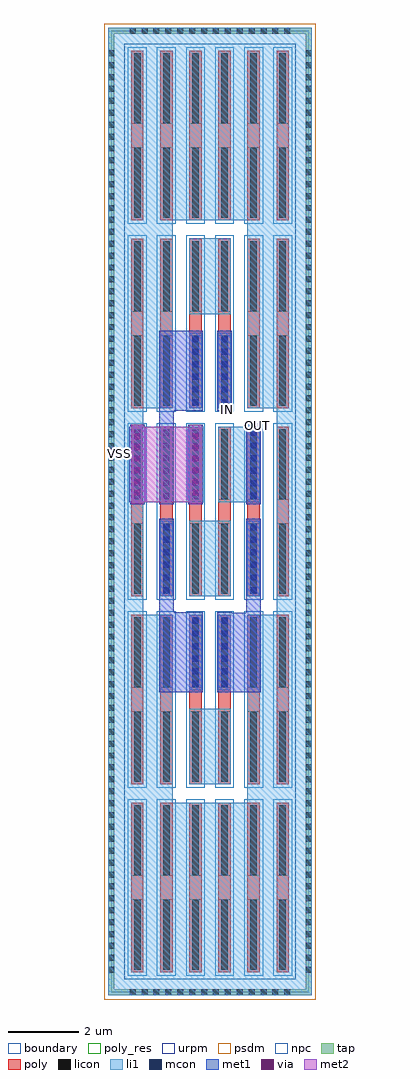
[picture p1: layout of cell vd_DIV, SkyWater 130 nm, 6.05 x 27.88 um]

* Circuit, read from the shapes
.subckt vd_DIV IN OUT VSS
XR1 VSS VSS VSS sky130_fd_pr__res_xhigh_po w=0.35 l=0.57 m=22
XR2 sky130_fd_pr__res_xhigh_po_0p35_MJ6B8Z_0/R1_1_2 sky130_fd_pr__res_xhigh_po_0p35_MJ6B8Z_0/R1_2_1 VSS sky130_fd_pr__res_xhigh_po w=0.35 l=0.57
XR3 sky130_fd_pr__res_xhigh_po_0p35_MJ6B8Z_0/R1_2_1 sky130_fd_pr__res_xhigh_po_0p35_MJ6B8Z_0/R2_2_1 VSS sky130_fd_pr__res_xhigh_po w=0.35 l=0.57
XR4 VSS sky130_fd_pr__res_xhigh_po_0p35_MJ6B8Z_0/R2_2_2 VSS sky130_fd_pr__res_xhigh_po w=0.35 l=0.57
XR5 sky130_fd_pr__res_xhigh_po_0p35_MJ6B8Z_0/R1_2_3 sky130_fd_pr__res_xhigh_po_0p35_MJ6B8Z_0/R1_1_2 VSS sky130_fd_pr__res_xhigh_po w=0.35 l=0.57
XR6 sky130_fd_pr__res_xhigh_po_0p35_MJ6B8Z_0/R1_3_1 sky130_fd_pr__res_xhigh_po_0p35_MJ6B8Z_0/R2_2_1 VSS sky130_fd_pr__res_xhigh_po w=0.35 l=0.57
XR7 OUT sky130_fd_pr__res_xhigh_po_0p35_MJ6B8Z_0/R2_2_2 VSS sky130_fd_pr__res_xhigh_po w=0.35 l=0.57
XR8 sky130_fd_pr__res_xhigh_po_0p35_MJ6B8Z_0/R1_2_3 IN VSS sky130_fd_pr__res_xhigh_po w=0.35 l=0.57
XR9 OUT sky130_fd_pr__res_xhigh_po_0p35_MJ6B8Z_0/R1_3_1 VSS sky130_fd_pr__res_xhigh_po w=0.35 l=0.57
.ends

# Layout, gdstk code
import gdstk
lib = gdstk.Library(unit=1e-6, precision=1e-09)
def R(c, l, rs):  # rectangles x0, y0, x1, y1
    for r in rs: c.add(gdstk.rectangle(r[:2], r[2:], *l))
def A(c, l, x, y, w, h, nx, ny, dx, dy):  # array of equal rectangles
    R(c, l, [(x+i*dx, y+j*dy, x+i*dx+w, y+j*dy+h) for i in range(nx) for j in range(ny)])
tap = (65, 44)
poly_res = (66, 13)
poly = (66, 20)
licon = (66, 44)
li1 = (67, 20)
mcon = (67, 44)
met1 = (68, 20)
via = (68, 44)
met2 = (69, 20)
urpm = (79, 20)
psdm = (94, 20)
npc = (95, 20)
boundary = (235, 4)

sky130_fd_pr__res_xhigh_ = lib.new_cell('sky130_fd_pr__res_xhigh_po_0p35_MJ6B8Z')
R(sky130_fd_pr__res_xhigh_, tap, [(-2.9,-13.815,2.9,-13.645), (-2.9,-13.645,-2.73,13.645), (2.73,-13.645,2.9,13.645), (-2.9,13.645,2.9,13.815)])
A(sky130_fd_pr__res_xhigh_, poly_res, -2.25, -11.085, 0.35, 0.69, 6, 5, 0.83, 5.37)
A(sky130_fd_pr__res_xhigh_, poly, -2.25, -13.165, 0.35, 4.85, 6, 5, 0.83, 5.37)
A(sky130_fd_pr__res_xhigh_, licon, -2.295, -13.815, 0.17, 0.17, 14, 2, 0.34, 27.46)
A(sky130_fd_pr__res_xhigh_, licon, -2.9, -13.175, 0.17, 0.17, 1, 78, 0, 0.34)
A(sky130_fd_pr__res_xhigh_, licon, 2.73, -13.175, 0.17, 0.17, 1, 78, 0, 0.34)
A(sky130_fd_pr__res_xhigh_, licon, -2.17, -13.085, 0.19, 2, 6, 2, 0.83, 2.69)
A(sky130_fd_pr__res_xhigh_, licon, -2.17, -7.715, 0.19, 2, 6, 2, 0.83, 2.69)
A(sky130_fd_pr__res_xhigh_, licon, -2.17, -2.345, 0.19, 2, 6, 2, 0.83, 2.69)
A(sky130_fd_pr__res_xhigh_, licon, -2.17, 3.025, 0.19, 2, 6, 2, 0.83, 2.69)
A(sky130_fd_pr__res_xhigh_, licon, -2.17, 8.395, 0.19, 2, 6, 2, 0.83, 2.69)
A(sky130_fd_pr__res_xhigh_, li1, -2.25, -13.165, 0.35, 2.16, 6, 2, 0.83, 2.69)
A(sky130_fd_pr__res_xhigh_, li1, -2.25, -7.795, 0.35, 2.16, 6, 2, 0.83, 2.69)
A(sky130_fd_pr__res_xhigh_, li1, -2.25, -2.425, 0.35, 2.16, 6, 2, 0.83, 2.69)
A(sky130_fd_pr__res_xhigh_, li1, -2.25, 2.945, 0.35, 2.16, 6, 2, 0.83, 2.69)
A(sky130_fd_pr__res_xhigh_, li1, -2.25, 8.315, 0.35, 2.16, 6, 2, 0.83, 2.69)
R(sky130_fd_pr__res_xhigh_, li1, [(-2.9,-13.815,2.9,-13.645), (-2.9,-13.645,-2.73,13.645), (2.73,-13.645,2.9,13.645), (-2.9,13.645,2.9,13.815)])
R(sky130_fd_pr__res_xhigh_, urpm, [(-2.45,-13.365,2.45,13.365)])
R(sky130_fd_pr__res_xhigh_, psdm, [(-3.025,-13.94,3.025,13.94)])
A(sky130_fd_pr__res_xhigh_, npc, -2.345, -13.26, 0.54, 5.04, 6, 5, 0.83, 5.37)
R(sky130_fd_pr__res_xhigh_, boundary, [(-2.815,-13.73,2.815,13.73)])
sky130_fd_pr__res_xhigh_.add(gdstk.Label('B', (0,-13.73), layer=67, texttype=5))
sky130_fd_pr__res_xhigh_.add(gdstk.Label('R1_0_0', (-2.075,-8.49), layer=67, texttype=5))
sky130_fd_pr__res_xhigh_.add(gdstk.Label('R2_0_0', (-2.075,-12.99), layer=67, texttype=5))
sky130_fd_pr__res_xhigh_.add(gdstk.Label('R1_0_1', (-2.075,-3.12), layer=67, texttype=5))
sky130_fd_pr__res_xhigh_.add(gdstk.Label('R2_0_1', (-2.075,-7.62), layer=67, texttype=5))
sky130_fd_pr__res_xhigh_.add(gdstk.Label('R1_0_2', (-2.075,2.25), layer=67, texttype=5))
sky130_fd_pr__res_xhigh_.add(gdstk.Label('R2_0_2', (-2.075,-2.25), layer=67, texttype=5))
sky130_fd_pr__res_xhigh_.add(gdstk.Label('R1_0_3', (-2.075,7.62), layer=67, texttype=5))
sky130_fd_pr__res_xhigh_.add(gdstk.Label('R2_0_3', (-2.075,3.12), layer=67, texttype=5))
sky130_fd_pr__res_xhigh_.add(gdstk.Label('R1_0_4', (-2.075,12.99), layer=67, texttype=5))
sky130_fd_pr__res_xhigh_.add(gdstk.Label('R2_0_4', (-2.075,8.49), layer=67, texttype=5))
sky130_fd_pr__res_xhigh_.add(gdstk.Label('R1_1_0', (-1.245,-8.49), layer=67, texttype=5))
sky130_fd_pr__res_xhigh_.add(gdstk.Label('R2_1_0', (-1.245,-12.99), layer=67, texttype=5))
sky130_fd_pr__res_xhigh_.add(gdstk.Label('R1_1_1', (-1.245,-3.12), layer=67, texttype=5))
sky130_fd_pr__res_xhigh_.add(gdstk.Label('R2_1_1', (-1.245,-7.62), layer=67, texttype=5))
sky130_fd_pr__res_xhigh_.add(gdstk.Label('R1_1_2', (-1.245,2.25), layer=67, texttype=5))
sky130_fd_pr__res_xhigh_.add(gdstk.Label('R2_1_2', (-1.245,-2.25), layer=67, texttype=5))
sky130_fd_pr__res_xhigh_.add(gdstk.Label('R1_1_3', (-1.245,7.62), layer=67, texttype=5))
sky130_fd_pr__res_xhigh_.add(gdstk.Label('R2_1_3', (-1.245,3.12), layer=67, texttype=5))
sky130_fd_pr__res_xhigh_.add(gdstk.Label('R1_1_4', (-1.245,12.99), layer=67, texttype=5))
sky130_fd_pr__res_xhigh_.add(gdstk.Label('R2_1_4', (-1.245,8.49), layer=67, texttype=5))
sky130_fd_pr__res_xhigh_.add(gdstk.Label('R1_2_0', (-0.415,-8.49), layer=67, texttype=5))
sky130_fd_pr__res_xhigh_.add(gdstk.Label('R2_2_0', (-0.415,-12.99), layer=67, texttype=5))
sky130_fd_pr__res_xhigh_.add(gdstk.Label('R1_2_1', (-0.415,-3.12), layer=67, texttype=5))
sky130_fd_pr__res_xhigh_.add(gdstk.Label('R2_2_1', (-0.415,-7.62), layer=67, texttype=5))
sky130_fd_pr__res_xhigh_.add(gdstk.Label('R1_2_2', (-0.415,2.25), layer=67, texttype=5))
sky130_fd_pr__res_xhigh_.add(gdstk.Label('R2_2_2', (-0.415,-2.25), layer=67, texttype=5))
sky130_fd_pr__res_xhigh_.add(gdstk.Label('R1_2_3', (-0.415,7.62), layer=67, texttype=5))
sky130_fd_pr__res_xhigh_.add(gdstk.Label('R2_2_3', (-0.415,3.12), layer=67, texttype=5))
sky130_fd_pr__res_xhigh_.add(gdstk.Label('R1_2_4', (-0.415,12.99), layer=67, texttype=5))
sky130_fd_pr__res_xhigh_.add(gdstk.Label('R2_2_4', (-0.415,8.49), layer=67, texttype=5))
sky130_fd_pr__res_xhigh_.add(gdstk.Label('R1_3_0', (0.415,-8.49), layer=67, texttype=5))
sky130_fd_pr__res_xhigh_.add(gdstk.Label('R2_3_0', (0.415,-12.99), layer=67, texttype=5))
sky130_fd_pr__res_xhigh_.add(gdstk.Label('R1_3_1', (0.415,-3.12), layer=67, texttype=5))
sky130_fd_pr__res_xhigh_.add(gdstk.Label('R2_3_1', (0.415,-7.62), layer=67, texttype=5))
sky130_fd_pr__res_xhigh_.add(gdstk.Label('R1_3_2', (0.415,2.25), layer=67, texttype=5))
sky130_fd_pr__res_xhigh_.add(gdstk.Label('R2_3_2', (0.415,-2.25), layer=67, texttype=5))
sky130_fd_pr__res_xhigh_.add(gdstk.Label('R1_3_3', (0.415,7.62), layer=67, texttype=5))
sky130_fd_pr__res_xhigh_.add(gdstk.Label('R2_3_3', (0.415,3.12), layer=67, texttype=5))
sky130_fd_pr__res_xhigh_.add(gdstk.Label('R1_3_4', (0.415,12.99), layer=67, texttype=5))
sky130_fd_pr__res_xhigh_.add(gdstk.Label('R2_3_4', (0.415,8.49), layer=67, texttype=5))
sky130_fd_pr__res_xhigh_.add(gdstk.Label('R1_4_0', (1.245,-8.49), layer=67, texttype=5))
sky130_fd_pr__res_xhigh_.add(gdstk.Label('R2_4_0', (1.245,-12.99), layer=67, texttype=5))
sky130_fd_pr__res_xhigh_.add(gdstk.Label('R1_4_1', (1.245,-3.12), layer=67, texttype=5))
sky130_fd_pr__res_xhigh_.add(gdstk.Label('R2_4_1', (1.245,-7.62), layer=67, texttype=5))
sky130_fd_pr__res_xhigh_.add(gdstk.Label('R1_4_2', (1.245,2.25), layer=67, texttype=5))
sky130_fd_pr__res_xhigh_.add(gdstk.Label('R2_4_2', (1.245,-2.25), layer=67, texttype=5))
sky130_fd_pr__res_xhigh_.add(gdstk.Label('R1_4_3', (1.245,7.62), layer=67, texttype=5))
sky130_fd_pr__res_xhigh_.add(gdstk.Label('R2_4_3', (1.245,3.12), layer=67, texttype=5))
sky130_fd_pr__res_xhigh_.add(gdstk.Label('R1_4_4', (1.245,12.99), layer=67, texttype=5))
sky130_fd_pr__res_xhigh_.add(gdstk.Label('R2_4_4', (1.245,8.49), layer=67, texttype=5))
sky130_fd_pr__res_xhigh_.add(gdstk.Label('R1_5_0', (2.075,-8.49), layer=67, texttype=5))
sky130_fd_pr__res_xhigh_.add(gdstk.Label('R2_5_0', (2.075,-12.99), layer=67, texttype=5))
sky130_fd_pr__res_xhigh_.add(gdstk.Label('R1_5_1', (2.075,-3.12), layer=67, texttype=5))
sky130_fd_pr__res_xhigh_.add(gdstk.Label('R2_5_1', (2.075,-7.62), layer=67, texttype=5))
sky130_fd_pr__res_xhigh_.add(gdstk.Label('R1_5_2', (2.075,2.25), layer=67, texttype=5))
sky130_fd_pr__res_xhigh_.add(gdstk.Label('R2_5_2', (2.075,-2.25), layer=67, texttype=5))
sky130_fd_pr__res_xhigh_.add(gdstk.Label('R1_5_3', (2.075,7.62), layer=67, texttype=5))
sky130_fd_pr__res_xhigh_.add(gdstk.Label('R2_5_3', (2.075,3.12), layer=67, texttype=5))
sky130_fd_pr__res_xhigh_.add(gdstk.Label('R1_5_4', (2.075,12.99), layer=67, texttype=5))
sky130_fd_pr__res_xhigh_.add(gdstk.Label('R2_5_4', (2.075,8.49), layer=67, texttype=5))

vd_div = lib.new_cell('vd_DIV')
R(vd_div, li1, [(-0.085,-0.085,5.715,5.415), (-0.085,5.415,1.755,10.785), (3.885,5.415,5.715,10.785), (2.22,5.935,3.405,8.095), (2.225,8.625,2.575,10.785), (3.055,8.625,3.405,10.785), (-0.085,10.785,0.915,13.79), (4.715,10.785,5.715,16.675), (1.395,11.305,1.745,13.465), (2.22,11.305,3.405,13.465), (3.885,11.305,4.235,13.465), (-0.085,13.79,0.91,13.995), (3.055,13.99,4.235,16.155), (-0.085,13.995,0.915,16.155), (1.395,13.995,1.745,16.155), (2.225,13.995,2.575,16.155), (-0.085,16.155,0.91,16.4), (-0.085,16.4,0.915,16.675), (-0.085,16.675,1.745,22.045), (2.225,16.675,2.575,18.835), (3.055,16.675,3.405,18.835), (3.885,16.675,5.715,21.42), (2.225,19.36,3.41,21.53), (3.88,21.42,5.715,22.045), (-0.085,22.045,5.715,27.545)])
A(vd_div, mcon, 2.315, 8.72, 0.17, 0.17, 1, 6, 0, 0.36)
A(vd_div, mcon, 3.145, 8.72, 0.17, 0.17, 1, 6, 0, 0.36)
A(vd_div, mcon, 1.485, 11.4, 0.17, 0.17, 1, 6, 0, 0.36)
A(vd_div, mcon, 3.975, 11.4, 0.17, 0.17, 1, 6, 0, 0.36)
A(vd_div, mcon, 0.655, 14.09, 0.17, 0.17, 3, 6, 0.83, 0.36)
A(vd_div, mcon, 3.975, 14.09, 0.17, 0.17, 1, 6, 0, 0.36)
A(vd_div, mcon, 2.315, 16.77, 0.17, 0.17, 1, 6, 0, 0.36)
A(vd_div, mcon, 3.145, 16.77, 0.17, 0.17, 1, 6, 0, 0.36)
R(vd_div, met1, [(3.02,8.56,4.265,10.84), (1.36,8.565,1.775,8.57), (2.195,8.565,2.605,8.57), (1.36,8.57,2.605,10.855), (3.025,10.84,3.435,10.845), (3.845,10.84,4.265,13.53), (1.36,10.855,1.775,13.53), (0.535,13.935,0.945,13.995), (1.365,13.935,1.775,16.105), (2.195,13.935,2.605,13.995), (3.855,13.935,4.265,16.215), (0.515,13.995,0.965,16.155), (2.175,13.995,2.625,16.155), (1.36,16.105,1.785,16.615), (0.535,16.155,0.945,16.215), (2.195,16.155,2.605,16.215), (1.36,16.615,2.605,18.895), (3.025,16.615,3.435,18.895)])
A(vd_div, via, 0.665, 14.2, 0.15, 0.15, 1, 6, 0, 0.32)
A(vd_div, via, 2.325, 14.2, 0.15, 0.15, 1, 6, 0, 0.32)
R(vd_div, met2, [(0.565,13.945,0.915,14), (2.225,13.945,2.575,14), (0.565,14,2.575,16.15), (0.565,16.15,0.915,16.205), (2.225,16.15,2.575,16.205)])
vd_div.add(gdstk.Reference(sky130_fd_pr__res_xhigh_, (2.815,13.73)))
vd_div.add(gdstk.Label('IN', (3.31,16.64), layer=68, texttype=5))
vd_div.add(gdstk.Label('OUT', (4.17,16.185), layer=68, texttype=5))
vd_div.add(gdstk.Label('VSS', (0.23,15.38), layer=67, texttype=5))

lib.write_gds('vd_DIV.gds')
